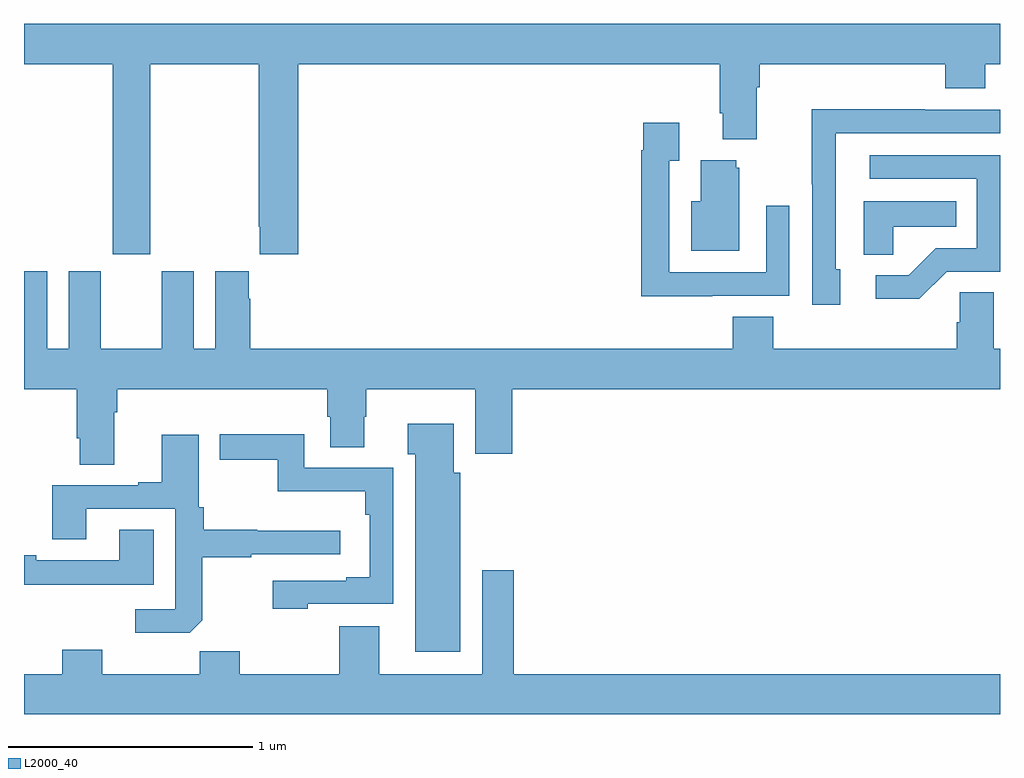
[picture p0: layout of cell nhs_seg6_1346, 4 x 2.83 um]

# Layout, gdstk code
import gdstk
lib = gdstk.Library(unit=1e-6, precision=1e-09)
def P(c, l, *ps):  # polygons
    for p in ps: c.add(gdstk.Polygon(p, *l))
L2000_40 = (2000, 40)

nhs_seg6_1346 = lib.new_cell('nhs_seg6_1346')
P(nhs_seg6_1346, L2000_40, [(193.518,959.324),(193.963,959.324),(193.963,958.657),(193.967,958.657),(193.967,958.545),(194.123,958.545),(194.123,959.324),(195.851,959.324),(195.851,959.122),(195.863,959.122),(195.863,959.015),(196.003,959.015),(196.003,959.228),(196.016,959.228),(196.016,959.324),(196.775,959.324),(196.775,959.225),(196.94,959.225),(196.94,959.324),(197,959.324),(197,959.488),(193,959.488),(193,959.324),(193.363,959.324),(193.363,958.545),(193.518,958.545)],
  [(196.345,958.482),(196.326,958.482),(196.326,959.04),(197,959.04),(197,959.136),(196.691,959.136),(196.691,959.138),(196.228,959.138),(196.228,958.831),(196.23,958.831),(196.23,958.338),(196.345,958.338)],
  [(195.821,958.374),(196.137,958.374),(196.137,958.744),(196.041,958.744),(196.041,958.47),(195.645,958.47),(195.645,958.927),(195.685,958.927),(195.685,959.083),(195.537,959.083),(195.537,958.97),(195.529,958.97),(195.529,958.373),(195.821,958.373)],
  [(196.782,958.473),(197,958.473),(197,958.95),(196.467,958.95),(196.467,958.854),(196.905,958.854),(196.905,958.569),(196.736,958.569),(196.625,958.458),(196.491,958.458),(196.491,958.361),(196.669,958.361)],
  [(195.931,958.899),(195.92,958.899),(195.92,958.93),(195.773,958.93),(195.773,958.762),(195.734,958.762),(195.734,958.559),(195.931,958.559)],
  [(196.563,958.658),(196.82,958.658),(196.82,958.762),(196.442,958.762),(196.442,958.543),(196.563,958.543)],
  [(193.369,957.896),(193.382,957.896),(193.382,957.992),(194.243,957.992),(194.243,957.879),(194.255,957.879),(194.255,957.754),(194.395,957.754),(194.395,957.879),(194.403,957.879),(194.403,957.992),(194.849,957.992),(194.849,957.726),(195.002,957.726),(195.002,957.992),(197,957.992),(197,958.156),(196.975,958.156),(196.975,958.388),(196.836,958.388),(196.836,958.265),(196.823,958.265),(196.823,958.156),(196.07,958.156),(196.07,958.289),(195.905,958.289),(195.905,958.156),(193.928,958.156),(193.928,958.361),(193.921,958.361),(193.921,958.474),(193.784,958.474),(193.784,958.156),(193.696,958.156),(193.696,958.474),(193.565,958.474),(193.565,958.156),(193.315,958.156),(193.315,958.474),(193.184,958.474),(193.184,958.156),(193.096,958.156),(193.096,958.474),(193,958.474),(193,957.992),(193.217,957.992),(193.217,957.79),(193.229,957.79),(193.229,957.682),(193.369,957.682)],
  [(194.788,957.648),(194.761,957.648),(194.761,957.85),(194.573,957.85),(194.573,957.725),(194.603,957.725),(194.603,956.915),(194.788,956.915)],
  [(194.163,957.111),(194.514,957.111),(194.514,957.669),(194.148,957.669),(194.148,957.806),(193.803,957.806),(193.803,957.703),(194.04,957.703),(194.04,957.572),(194.398,957.572),(194.398,957.476),(194.418,957.476),(194.418,957.22),(194.321,957.22),(194.321,957.207),(194.019,957.207),(194.019,957.092),(194.163,957.092)],
  [(193.731,957.045),(193.731,957.303),(193.931,957.303),(193.931,957.315),(194.296,957.315),(194.296,957.412),(193.955,957.412),(193.955,957.416),(193.736,957.416),(193.736,957.508),(193.716,957.508),(193.716,957.805),(193.565,957.805),(193.565,957.61),(193.469,957.61),(193.469,957.597),(193.115,957.597),(193.115,957.376),(193.255,957.376),(193.255,957.501),(193.62,957.501),(193.62,957.09),(193.455,957.09),(193.455,956.994),(193.679,956.994)],
  [(193.531,957.416),(193.391,957.416),(193.391,957.291),(193.051,957.291),(193.051,957.311),(193,957.311),(193,957.19),(193.531,957.19)],
  [(197,956.824),(195.008,956.824),(195.008,957.25),(194.879,957.25),(194.879,956.824),(194.455,956.824),(194.455,957.019),(194.291,957.019),(194.291,956.824),(193.885,956.824),(193.885,956.917),(193.721,956.917),(193.721,956.824),(193.321,956.824),(193.321,956.923),(193.157,956.923),(193.157,956.824),(193,956.824),(193,956.66),(197,956.66)])

lib.write_gds('nhs_seg6_1346.gds')
